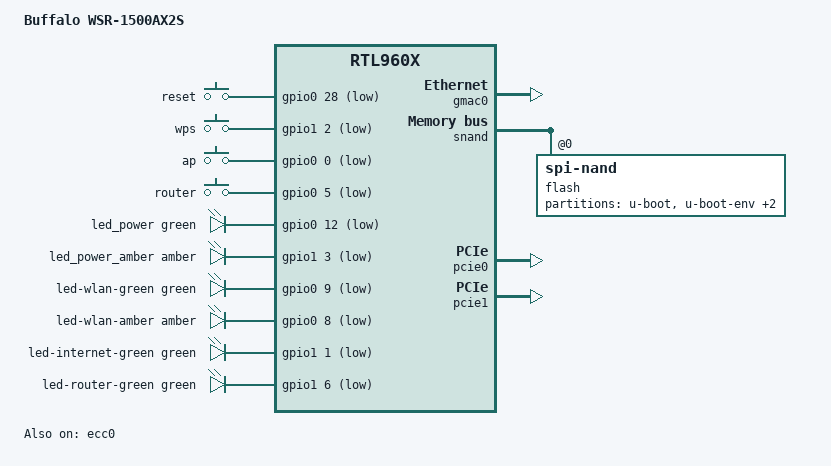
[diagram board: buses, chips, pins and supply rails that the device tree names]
// SPDX-License-Identifier: GPL-2.0-or-later OR MIT

/dts-v1/;

#include "rtl9607c-va.dtsi"
#include <dt-bindings/gpio/gpio.h>
#include <dt-bindings/input/input.h>
#include <dt-bindings/leds/common.h>

/ {
	compatible = "buffalo,wsr-1500ax2s", "realtek,rtl8198d-soc", "realtek,rtl960x-soc";
	model = "Buffalo WSR-1500AX2S";

	chosen {
		bootargs = "earlycon ubi.block=0,ubi_r0 root=/dev/ubiblock0_2";
	};

	aliases {
		led-boot = &led_power;
		led-failsafe = &led_power_amber;
		led-running = &led_power;
		led-upgrade = &led_power_amber;
	};

	keys {
		compatible = "gpio-keys";
		pinctrl-names = "default";
		pinctrl-0 = <&pinmux_keys>;

		key-reset {
			label = "reset";
			gpios = <&gpio0 28 GPIO_ACTIVE_LOW>;
			linux,code = <KEY_RESTART>;
		};

		key-aoss {
			label = "wps";
			gpios = <&gpio1 2 GPIO_ACTIVE_LOW>;
			linux,code = <KEY_WPS_BUTTON>;
		};

		/*
		 * 3-position mode switch: ROUTER and AP assert one input
		 * each, WB asserts neither.
		 */
		key-ap {
			label = "ap";
			gpios = <&gpio0 0 GPIO_ACTIVE_LOW>;
			linux,code = <BTN_0>;
			linux,input-type = <EV_SW>;
		};

		key-router {
			label = "router";
			gpios = <&gpio0 5 GPIO_ACTIVE_LOW>;
			linux,code = <BTN_1>;
			linux,input-type = <EV_SW>;
		};
	};

	leds {
		compatible = "gpio-leds";
		pinctrl-names = "default";
		pinctrl-0 = <&pinmux_leds>;

		led_power: led-power {
			color = <LED_COLOR_ID_GREEN>;
			function = LED_FUNCTION_POWER;
			gpios = <&gpio0 12 GPIO_ACTIVE_LOW>;
		};

		led_power_amber: led-power-amber {
			color = <LED_COLOR_ID_AMBER>;
			function = LED_FUNCTION_POWER;
			gpios = <&gpio1 3 GPIO_ACTIVE_LOW>;
		};

		led-wlan-green {
			color = <LED_COLOR_ID_GREEN>;
			function = LED_FUNCTION_WLAN;
			gpios = <&gpio0 9 GPIO_ACTIVE_LOW>;
		};

		led-wlan-amber {
			color = <LED_COLOR_ID_AMBER>;
			function = LED_FUNCTION_WLAN;
			gpios = <&gpio0 8 GPIO_ACTIVE_LOW>;
		};

		led-internet-green {
			color = <LED_COLOR_ID_GREEN>;
			function = LED_FUNCTION_WAN_ONLINE;
			gpios = <&gpio1 1 GPIO_ACTIVE_LOW>;
		};

		led-router-green {
			color = <LED_COLOR_ID_GREEN>;
			function = "router";
			gpios = <&gpio1 6 GPIO_ACTIVE_LOW>;
		};
	};
};

&mdio_ctrl {
	PHY_C22(0, 0)
	PHY_C22(1, 1)
	PHY_C22(2, 2)
	PHY_C22(3, 3)
};

&switch0 {
	ethernet-ports {
		SWITCH_PORT(0, 1, internal)
		SWITCH_PORT(1, 2, internal)
		SWITCH_PORT(2, 3, internal)

		/* Port 3 is the WAN jack on this board. */
		port@3 {
			reg = <3>;
			label = "wan";
			phy-mode = "internal";
			phy-handle = <&phy3>;
		};
	};
};

&pinmux {
	/*
	 * GPIO function enable for the key and LED pins, as set by the
	 * stock firmware. GPIO 5 (ROUTER position of the mode switch) is
	 * unusable without this, the input keeps changing.
	 */
	pinmux_keys: keys {
		/* bank 0: 0, 5, 28; bank 1: 2 */
		pinctrl-single,bits = <0x0 0x10000021 0x10000021>,
				      <0x4 0x4 0x4>;
	};

	pinmux_leds: leds {
		/* bank 0: 8, 9, 12; bank 1: 1, 3, 6 */
		pinctrl-single,bits = <0x0 0x1300 0x1300>,
				      <0x4 0x4a 0x4a>;
	};
};

&ecc0 {
	status = "okay";
};

&gmac0 {
	status = "okay";
};

&snand {
	status = "okay";

	flash@0 {
		compatible = "spi-nand";
		reg = <0>;

		nand-ecc-engine = <&ecc0>;
		nand-ecc-strength = <6>;
		nand-ecc-step-size = <512>;
		nand-ecc-algo = "bch";
		nand-ecc-placement = "oob";

		partitions {
			compatible = "fixed-partitions";
			#address-cells = <1>;
			#size-cells = <1>;

			partition@0 {
				label = "u-boot";
				reg = <0x0 0xc0000>;
				read-only;
			};

			partition@c0000 {
				compatible = "u-boot,env-redundant-count";
				label = "u-boot-env";
				reg = <0xc0000 0x20000>;
			};

			partition@e0000 {
				compatible = "u-boot,env-redundant-count";
				label = "u-boot-env2";
				reg = <0xe0000 0x20000>;
			};

			partition@100000 {
				label = "ubi";
				reg = <0x100000 0x7c80000>;
			};
		};
	};
};

&pcie0 {
	status = "okay";
};

&pcie1 {
	status = "okay";
};
